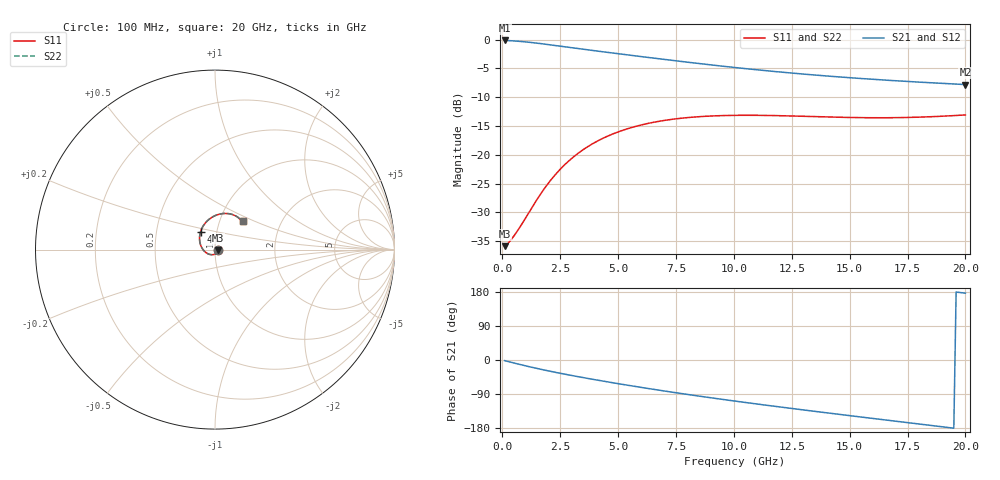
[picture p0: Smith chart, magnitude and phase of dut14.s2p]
! Touchstone file exported from HFSS 2024.1.0
!  File:  C:/UserFiles/LocalFiles/RDL_TSV_Batchsim/temp_RDL_TSV_14_1779398142.aedt
!  Generated:  05:28:33 AM May 22, 2026
!  Design:  RDL_TSV
!  Project:  temp_RDL_TSV_14_1779398142
!  Setup:  Setup1
!  Solution:  Sweep
! Variables:
!  dtsv = 9.48um
!  hbump = 3um
!  htsv = 80.71um
!  ldown = 373.65um
!  lrdl = 358.43um
!  p = 40
!  p1 = 41.41um
!  rhole = 10um
!  subl = 2554.67um
!  t = 450um
!  tdown = 2.19um
!  trdl = 2.39um
!  viad = 10um
!  wdown = 28.99um
!  wrdl = 24.47um
!  xbump = 18um
# GHz S MA R 50.000000
! Terminal data exported
! Port[1] = TM1_1_T1
! Port[2] = TM1_4_T1
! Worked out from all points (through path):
!   200 points, 100 MHz to 20 GHz, reference 50 ohm
!   highest |S21| = -0.14 dB at 100 MHz (marker M1); lowest = -7.8 dB at 20 GHz (marker M2)
!   group delay of S21, straight-line fit = 24.3 ps
!   lowest |S11| = -35.9 dB at 100 MHz (marker M3), VSWR 1.03, Z = 51.6 - j0.277 ohm
!   |S11| at or under -10 dB: start of sweep to end of sweep
!   |S22| runs from -35.9 to -13.1 dB; largest |S21 - S12| = 1e-14
!   S11 on the Smith chart (normalised r, x): 100 MHz: 1.03, -0.01; 4 GHz: 0.84, +0.17; 20 GHz: 1.29, +0.43
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0.1  0.01607 -9.6  0.9836 -1.6  0.9836 -1.6  0.01607 -9.6
! Gamma 0 0 0 0
! Port Impedance 50 0 50 0
0.3  0.01749 -30.3  0.98 -4.8  0.98 -4.8  0.01748 -30.3
0.6  0.02101 -63.2  0.9714 -9.4  0.9714 -9.4  0.021 -63.2
1.2  0.03272 -118.9  0.9469 -18.2  0.9469 -18.2  0.03272 -119.0
1.7  0.04704 -152.0  0.9213 -25.0  0.9213 -25.0  0.04708 -152.1
2.1  0.06045 -172.2  0.8994 -30.1  0.8994 -30.1  0.06054 -172.3
2.5  0.07478 171.4  0.8774 -35.1  0.8774 -35.1  0.07491 171.3
3  0.09306 154.6  0.8506 -40.9  0.8506 -40.9  0.09326 154.5
3.5  0.111 140.7  0.8249 -46.5  0.8249 -46.5  0.1112 140.6
4  0.128 128.9  0.8005 -52.0  0.8005 -52.0  0.1283 128.9
4.6  0.1466 116.9  0.7726 -58.3  0.7726 -58.3  0.1471 116.8
5.3  0.1656 105.0  0.7417 -65.4  0.7417 -65.4  0.1662 105.0
6  0.1815 94.9  0.7123 -72.3  0.7123 -72.3  0.1821 94.9
6.8  0.1958 85.1  0.6806 -80.0  0.6806 -80.0  0.1964 85.0
8.4  0.2135 69.7  0.6231 -94.5  0.6231 -94.5  0.2143 69.6
10.1  0.22 58.1  0.5708 -108.9  0.5708 -108.9  0.2209 58.0
11.7  0.2191 50.7  0.5299 -121.7  0.5299 -121.7  0.2199 50.6
13.4  0.2147 46.0  0.4943 -134.8  0.4943 -134.8  0.2155 45.9
15  0.2108 44.0  0.4669 -146.8  0.4669 -146.8  0.2115 43.9
16.7  0.2097 43.8  0.443 -159.4  0.443 -159.4  0.2104 43.7
18.3  0.2131 44.6  0.4242 -171.1  0.4242 -171.1  0.2138 44.5
20  0.2219 45.5  0.4072 176.4  0.4072 176.4  0.2225 45.4
